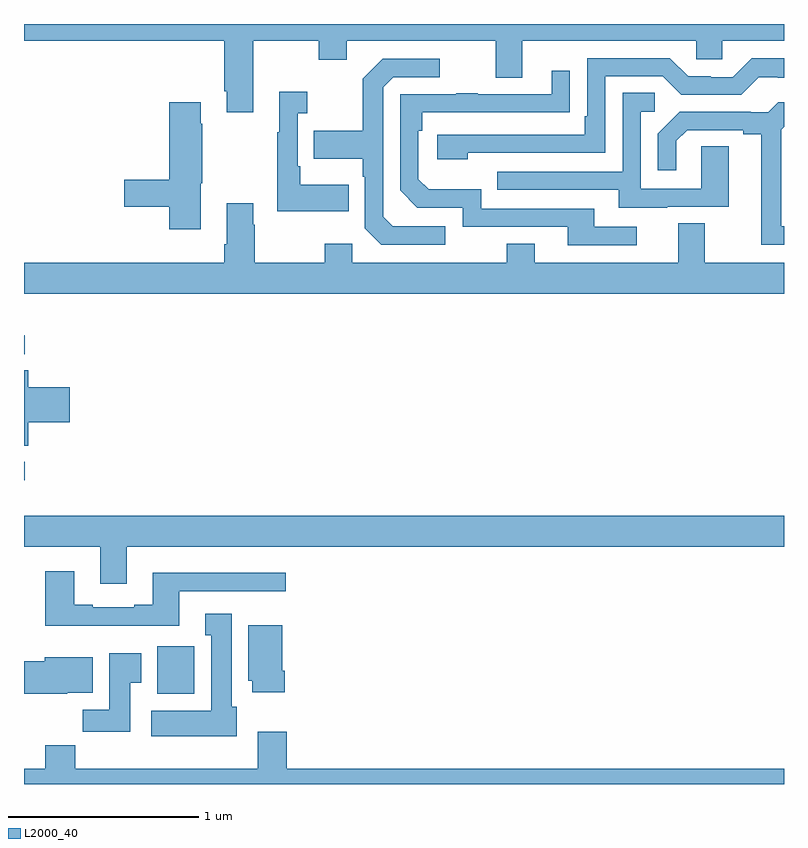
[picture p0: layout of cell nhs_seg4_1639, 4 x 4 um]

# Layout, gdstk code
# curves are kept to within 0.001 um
import gdstk
lib = gdstk.Library(unit=1e-6, precision=1e-09)
def R(c, l, rs):  # rectangles x0, y0, x1, y1
    for r in rs: c.add(gdstk.rectangle(r[:2], r[2:], *l))
def P(c, l, *ps):  # polygons
    for p in ps: c.add(gdstk.Polygon(p, *l))
L2000_40 = (2000, 40)

nhs_seg4_1639 = lib.new_cell('nhs_seg4_1639')
R(nhs_seg4_1639, L2000_40, [(195.701,801.374,195.897,801.625), (195,802.5,195.004,802.596), (195,803.163,195.004,803.262)])
P(nhs_seg4_1639, L2000_40, [(196.207,804.812),(196.552,804.812),(196.552,804.713),(196.699,804.713),(196.699,804.812),(197.483,804.812),(197.483,804.618),(197.623,804.618),(197.623,804.812),(198.537,804.812),(198.537,804.714),(198.675,804.714),(198.675,804.812),(199,804.812),(199,804.9),(195,804.9),(195,804.812),(196.055,804.812),(196.055,804.547),(196.067,804.547),(196.067,804.435),(196.207,804.435)],
  [(197.336,804.222),(198.06,804.222),(198.06,804.624),(198.363,804.624),(198.459,804.528),(198.774,804.528),(198.867,804.621),(198.967,804.621),(198.967,804.617),(199,804.617),(199,804.721),(198.829,804.721),(198.729,804.621),(198.614,804.621),(198.614,804.624),(198.495,804.624),(198.399,804.72),(197.964,804.72),(197.964,804.415),(197.951,804.415),(197.951,804.318),(197.175,804.318),(197.175,804.188),(197.336,804.188)],
  [(197.218,803.835),(196.941,803.835),(196.89,803.886),(196.89,804.567),(196.944,804.621),(197.188,804.621),(197.188,804.717),(196.887,804.717),(196.782,804.611),(196.782,804.339),(196.525,804.339),(196.525,804.191),(196.782,804.191),(196.782,804.095),(196.794,804.095),(196.794,803.826),(196.881,803.739),(197.218,803.739)],
  [(198.226,803.832),(198.001,803.832),(198.001,803.928),(197.406,803.928),(197.406,804.031),(197.129,804.031),(197.076,804.084),(197.076,804.338),(197.096,804.338),(197.096,804.435),(197.873,804.436),(197.873,804.655),(197.777,804.655),(197.777,804.531),(197.387,804.531),(197.387,804.536),(197.275,804.536),(197.275,804.531),(196.98,804.531),(196.98,804.024),(197.07,803.934),(197.31,803.934),(197.31,803.832),(197.861,803.832),(197.861,803.736),(198.226,803.736)],
  [(196.709,804.055),(196.453,804.055),(196.453,804.151),(196.44,804.151),(196.44,804.431),(196.492,804.431),(196.492,804.544),(196.343,804.544),(196.343,804.331),(196.332,804.331),(196.332,803.915),(196.709,803.915)],
  [(198.385,803.937),(198.709,803.937),(198.709,804.257),(198.564,804.257),(198.564,804.033),(198.246,804.033),(198.246,804.438),(198.319,804.438),(198.319,804.539),(198.15,804.539),(198.15,804.123),(197.491,804.123),(197.491,804.027),(198.131,804.027),(198.131,803.933),(198.385,803.933)],
  [(199,803.835),(198.985,803.835),(198.985,804.343),(199,804.358),(199,804.487),(198.97,804.487),(198.918,804.435),(198.824,804.435),(198.824,804.438),(198.452,804.438),(198.336,804.322),(198.336,804.129),(198.433,804.129),(198.433,804.285),(198.49,804.342),(198.785,804.342),(198.785,804.32),(198.881,804.32),(198.881,803.739),(199,803.739)],
  [(195.931,804.063),(195.939,804.063),(195.939,804.374),(195.931,804.374),(195.931,804.487),(195.764,804.487),(195.764,804.08),(195.528,804.08),(195.528,803.938),(195.764,803.938),(195.764,803.82),(195.931,803.82)],
  [(199,803.644),(198.583,803.644),(198.583,803.852),(198.443,803.852),(198.443,803.644),(197.689,803.644),(197.689,803.743),(197.542,803.743),(197.542,803.644),(196.728,803.644),(196.728,803.743),(196.582,803.743),(196.582,803.644),(196.215,803.644),(196.215,803.843),(196.207,803.843),(196.207,803.956),(196.067,803.956),(196.067,803.74),(196.055,803.74),(196.055,803.644),(195,803.644),(195,803.48),(199,803.48)],
  [(195.023,802.805),(195.241,802.805),(195.241,802.988),(195.023,802.988),(195.023,803.078),(195,803.078),(195,802.681),(195.023,802.681)],
  [(195.541,802.148),(199,802.148),(199,802.312),(195,802.312),(195,802.148),(195.401,802.148),(195.401,801.954),(195.541,801.954)],
  [(195.817,801.915),(196.378,801.915),(196.378,802.012),(195.677,802.012),(195.677,801.844),(195.581,801.844),(195.581,801.831),(195.361,801.831),(195.361,801.844),(195.265,801.844),(195.265,802.021),(195.113,802.021),(195.113,801.734),(195.817,801.734)],
  [(196.12,801.306),(196.093,801.306),(196.093,801.796),(195.953,801.796),(195.953,801.683),(195.986,801.683),(195.986,801.286),(195.669,801.286),(195.669,801.152),(196.12,801.152)],
  [(196.373,801.496),(196.36,801.496),(196.36,801.736),(196.181,801.736),(196.181,801.444),(196.202,801.444),(196.202,801.384),(196.373,801.384)],
  [(195.559,801.433),(195.616,801.433),(195.616,801.589),(195.449,801.589),(195.449,801.292),(195.31,801.292),(195.31,801.174),(195.559,801.174)],
  [(195.228,801.38),(195.361,801.38),(195.361,801.568),(195.11,801.568),(195.11,801.545),(195,801.545),(195,801.374),(195.228,801.374)],
  [(199,800.98),(196.382,800.98),(196.382,801.175),(196.229,801.175),(196.229,800.98),(195.269,800.98),(195.269,801.104),(195.113,801.104),(195.113,800.98),(195,800.98),(195,800.9),(199,800.9)])

lib.write_gds('nhs_seg4_1639.gds')
